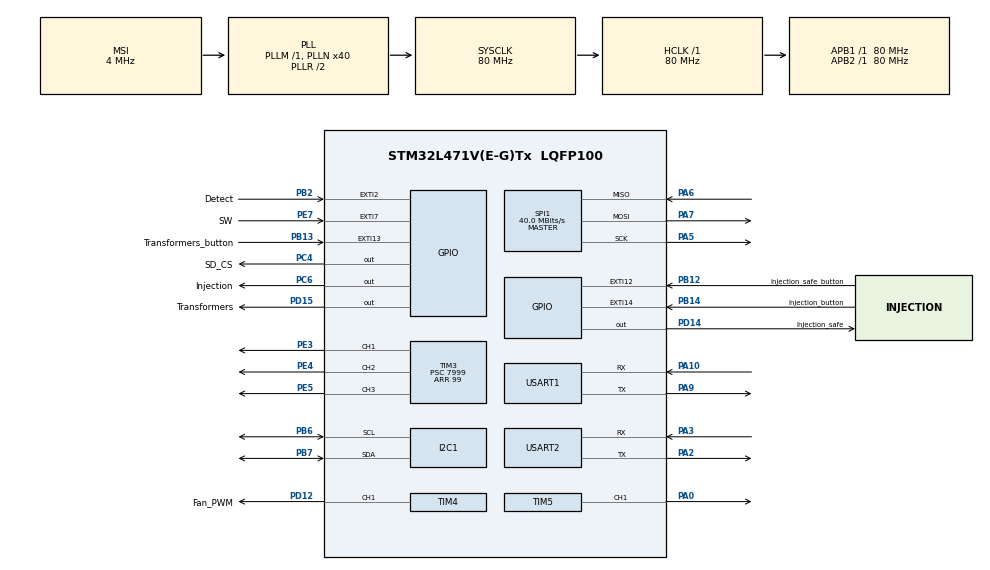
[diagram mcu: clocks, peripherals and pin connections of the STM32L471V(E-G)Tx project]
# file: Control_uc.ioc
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Dma.I2C1_RX.1.Direction=DMA_PERIPH_TO_MEMORY
Dma.I2C1_RX.1.Instance=DMA1_Channel7
Dma.I2C1_RX.1.MemDataAlignment=DMA_MDATAALIGN_BYTE
Dma.I2C1_RX.1.MemInc=DMA_MINC_ENABLE
Dma.I2C1_RX.1.Mode=DMA_NORMAL
Dma.I2C1_RX.1.PeriphDataAlignment=DMA_PDATAALIGN_BYTE
Dma.I2C1_RX.1.PeriphInc=DMA_PINC_DISABLE
Dma.I2C1_RX.1.Priority=DMA_PRIORITY_LOW
Dma.I2C1_TX.0.Direction=DMA_MEMORY_TO_PERIPH
Dma.I2C1_TX.0.Instance=DMA1_Channel6
Dma.I2C1_TX.0.MemDataAlignment=DMA_MDATAALIGN_BYTE
Dma.I2C1_TX.0.MemInc=DMA_MINC_ENABLE
Dma.I2C1_TX.0.Mode=DMA_NORMAL
Dma.I2C1_TX.0.PeriphDataAlignment=DMA_PDATAALIGN_BYTE
Dma.I2C1_TX.0.PeriphInc=DMA_PINC_DISABLE
Dma.I2C1_TX.0.Priority=DMA_PRIORITY_LOW
Dma.Request0=I2C1_TX
Dma.Request1=I2C1_RX
Mcu.Family=STM32L4
Mcu.Name=STM32L471V(E-G)Tx
Mcu.Package=LQFP100
NVIC.DMA1_Channel6_IRQn=true\:0\:0\:false\:false\:true\:false
NVIC.DMA1_Channel7_IRQn=true\:0\:0\:false\:false\:true\:false
NVIC.EXTI15_10_IRQn=true\:0\:0\:false\:false\:true\:true
NVIC.EXTI2_IRQn=true\:0\:0\:false\:false\:true\:true
NVIC.EXTI9_5_IRQn=true\:0\:0\:false\:false\:true\:true
NVIC.I2C1_ER_IRQn=true\:0\:0\:false\:false\:true\:true
NVIC.I2C1_EV_IRQn=true\:0\:0\:false\:false\:true\:true
NVIC.PriorityGroup=NVIC_PRIORITYGROUP_4
NVIC.TIM3_IRQn=true\:0\:0\:false\:false\:true\:true
NVIC.TIM4_IRQn=true\:0\:0\:false\:false\:true\:true
NVIC.TIM5_IRQn=true\:0\:0\:false\:false\:true\:true
PA0.Signal=S_TIM5_CH1
PA10.Mode=Asynchronous
PA10.Signal=USART1_RX
PA13\ (JTMS-SWDIO).Mode=JTAG_5_pins
PA13\ (JTMS-SWDIO).Signal=SYS_JTMS-SWDIO
PA14\ (JTCK-SWCLK).Mode=JTAG_5_pins
PA14\ (JTCK-SWCLK).Signal=SYS_JTCK-SWCLK
PA15\ (JTDI).Mode=JTAG_5_pins
PA15\ (JTDI).Signal=SYS_JTDI
PA2.Mode=Asynchronous
PA2.Signal=USART2_TX
PA3.Mode=Asynchronous
PA3.Signal=USART2_RX
PA5.Mode=Full_Duplex_Master
PA5.Signal=SPI1_SCK
PA6.Mode=Full_Duplex_Master
PA6.Signal=SPI1_MISO
PA7.Mode=Full_Duplex_Master
PA7.Signal=SPI1_MOSI
PA9.Mode=Asynchronous
PA9.Signal=USART1_TX
PB12.GPIO_Label=Injection_safe_button
PB12.GPIO_ModeDefaultEXTI=GPIO_MODE_IT_RISING
PB12.Signal=GPXTI12
PB13.GPIO_Label=Transformers_button
PB13.GPIO_ModeDefaultEXTI=GPIO_MODE_IT_RISING
PB13.Signal=GPXTI13
PB14.GPIO_Label=Injection_button
PB14.GPIO_ModeDefaultEXTI=GPIO_MODE_IT_RISING_FALLING
PB14.Signal=GPXTI14
PB2.GPIO_Label=Detect
PB2.GPIO_ModeDefaultEXTI=GPIO_MODE_IT_RISING
PB2.Signal=GPXTI2
PB3\ (JTDO-TRACESWO).Mode=JTAG_5_pins
PB3\ (JTDO-TRACESWO).Signal=SYS_JTDO-SWO
PB4\ (NJTRST).Mode=JTAG_5_pins
PB4\ (NJTRST).Signal=SYS_JTRST
PB6.Mode=I2C
PB6.Signal=I2C1_SCL
PB7.Mode=I2C
PB7.Signal=I2C1_SDA
PC4.GPIO_Label=SD_CS
PC4.Signal=GPIO_Output
PC6.GPIO_Label=Injection
PC6.Signal=GPIO_Output
PD12.GPIO_Label=Fan_PWM
PD12.Signal=S_TIM4_CH1
PD14.GPIO_Label=Injection_safe
PD14.Signal=GPIO_Output
PD15.GPIO_Label=Transformers
PD15.Signal=GPIO_Output
PE3.Signal=S_TIM3_CH1
PE4.Signal=S_TIM3_CH2
PE5.Signal=S_TIM3_CH3
PE7.GPIO_Label=SW
PE7.GPIO_ModeDefaultEXTI=GPIO_MODE_IT_RISING
PE7.Signal=GPXTI7
PH0-OSC_IN\ (PH0).Mode=HSE-External-Oscillator
PH0-OSC_IN\ (PH0).Signal=RCC_OSC_IN
PH1-OSC_OUT\ (PH1).Mode=HSE-External-Oscillator
PH1-OSC_OUT\ (PH1).Signal=RCC_OSC_OUT
ProjectManager.HeapSize=0x200
ProjectManager.StackSize=0x400
ProjectManager.TargetToolchain=SW4STM32
RCC.AHBFreq_Value=80000000
RCC.APB1Freq_Value=80000000
RCC.APB1TimFreq_Value=80000000
RCC.APB2Freq_Value=80000000
RCC.APB2TimFreq_Value=80000000
RCC.CortexFreq_Value=80000000
RCC.HCLKFreq_Value=80000000
RCC.HSE_VALUE=8000000
RCC.HSI_VALUE=16000000
RCC.LSE_VALUE=32768
RCC.MSI_VALUE=4000000
RCC.PLLN=40
RCC.SYSCLKFreq_VALUE=80000000
RCC.SYSCLKSource=RCC_SYSCLKSOURCE_PLLCLK
RCC.VCOOutputFreq_Value=160000000
SH.S_TIM3_CH1.0=TIM3_CH1,PWM Generation1 CH1
SH.S_TIM3_CH2.0=TIM3_CH2,PWM Generation2 CH2
SH.S_TIM3_CH3.0=TIM3_CH3,PWM Generation3 CH3
SH.S_TIM4_CH1.0=TIM4_CH1,PWM Generation1 CH1
SH.S_TIM5_CH1.0=TIM5_CH1,PWM Generation1 CH1
SPI1.CalculateBaudRate=40.0 MBits/s
SPI1.Direction=SPI_DIRECTION_2LINES
SPI1.Mode=SPI_MODE_MASTER
SPI1.VirtualType=VM_MASTER
TIM3.Channel-PWM\ Generation1\ CH1=TIM_CHANNEL_1
TIM3.Channel-PWM\ Generation2\ CH2=TIM_CHANNEL_2
TIM3.Channel-PWM\ Generation3\ CH3=TIM_CHANNEL_3
TIM3.Period=99
TIM3.Prescaler=7999
TIM4.Channel-PWM\ Generation1\ CH1=TIM_CHANNEL_1
TIM4.Period=99
TIM4.Prescaler=7999
TIM5.Channel-PWM\ Generation1\ CH1=TIM_CHANNEL_1
TIM5.Period=99
TIM5.Prescaler=7999
USART1.VirtualMode-Asynchronous=VM_ASYNC
USART2.VirtualMode-Asynchronous=VM_ASYNC
board=custom

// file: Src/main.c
/**
  ******************************************************************************
  * @file           : main.c
  * @brief          : Main program body
  ******************************************************************************
  ** This notice applies to any and all portions of this file
  * that are not between comment pairs USER CODE BEGIN and
  * USER CODE END. Other portions of this file, whether
  * inserted by the user or by software development tools
  * are owned by their respective copyright owners.
  *
  * COPYRIGHT(c) 2018 STMicroelectronics
  *
  * Redistribution and use in source and binary forms, with or without modification,
  * are permitted provided that the following conditions are met:
  *   1. Redistributions of source code must retain the above copyright notice,
  *      this list of conditions and the following disclaimer.
  *   2. Redistributions in binary form must reproduce the above copyright notice,
  *      this list of conditions and the following disclaimer in the documentation
  *      and/or other materials provided with the distribution.
  *   3. Neither the name of STMicroelectronics nor the names of its contributors
  *      may be used to endorse or promote products derived from this software
  *      without specific prior written permission.
  *
  * THIS SOFTWARE IS PROVIDED BY THE COPYRIGHT HOLDERS AND CONTRIBUTORS "AS IS"
  * AND ANY EXPRESS OR IMPLIED WARRANTIES, INCLUDING, BUT NOT LIMITED TO, THE
  * IMPLIED WARRANTIES OF MERCHANTABILITY AND FITNESS FOR A PARTICULAR PURPOSE ARE
  * DISCLAIMED. IN NO EVENT SHALL THE COPYRIGHT HOLDER OR CONTRIBUTORS BE LIABLE
  * FOR ANY DIRECT, INDIRECT, INCIDENTAL, SPECIAL, EXEMPLARY, OR CONSEQUENTIAL
  * DAMAGES (INCLUDING, BUT NOT LIMITED TO, PROCUREMENT OF SUBSTITUTE GOODS OR
  * SERVICES; LOSS OF USE, DATA, OR PROFITS; OR BUSINESS INTERRUPTION) HOWEVER
  * CAUSED AND ON ANY THEORY OF LIABILITY, WHETHER IN CONTRACT, STRICT LIABILITY,
  * OR TORT (INCLUDING NEGLIGENCE OR OTHERWISE) ARISING IN ANY WAY OUT OF THE USE
  * OF THIS SOFTWARE, EVEN IF ADVISED OF THE POSSIBILITY OF SUCH DAMAGE.
  *
  ******************************************************************************
  */
#include "main.h"
#include "stm32l4xx_hal.h"
#include "dma.h"
#include "i2c.h"
#include "spi.h"
#include "tim.h"
#include "usart.h"
#include "gpio.h"

volatile uint8_t transformer_set_flag  = 0;
volatile uint8_t injection_safe_set_flag  = 0;
volatile uint8_t injection_set_flag  = 0;
volatile uint8_t button_state_changed_flag = 0;
/* USER CODE BEGIN PV */
/* Private variables ---------------------------------------------------------*/
uint8_t Duty = 0;
/* USER CODE END PV */

void SystemClock_Config(void);

/* USER CODE BEGIN PFP */
/* Private function prototypes -----------------------------------------------*/
void HAL_TIM_PeriodElapsedCallback(TIM_HandleTypeDef *htim) {
	if (htim->Instance == TIM3) {
		static uint8_t InterruptPrescaler = 0; // licznik przerwan
		 static uint8_t CzyRosnie = 1; // Flaga kierunku zliczania

		 ++InterruptPrescaler; // Inkrementacja numeru przerwania

		 // Jezeli wywolalo sie 40 przerwanie z rzedu
		 if (InterruptPrescaler == 2) {
		 InterruptPrescaler = 0; // wyzeruj licznik przerwan

		 if (Duty == 100) // Jezeli wypelnienie jest rowne 100
		 CzyRosnie = 0; // Zmien kierunek zliczania w dol

		 else if (Duty == 0) // Jezeli wypelnienie rowne 0
		 CzyRosnie = 1; // Zmien kierunek zliczania w gore

		 if (CzyRosnie) // Jezeli zliczamy w gore
		 ++Duty; // Inkrementuj wartosc wypelnienia
		 else//Jezeli zliczamy w dol
		 --Duty; // Dekrementuj wartosc wypelnienia
		 }
		 TIM3->CCR1 = Duty;

	}
}

void Buzzer_signal_short(void)
{
	TIM5->CCR1 = 50;
	HAL_Delay(250);
	TIM5->CCR1 = 0;
}

void HAL_GPIO_EXTI_Callback(uint16_t GPIO_Pin)
{

	button_state_changed_flag = 1;

	if(HAL_GPIO_ReadPin(Injection_safe_GPIO_Port, Injection_safe_Pin == 0))
	{
		HAL_GPIO_WritePin(Injection_GPIO_Port, Injection_Pin, RESET);
	}

if(GPIO_Pin == Transformers_button_Pin)
{

	HAL_GPIO_TogglePin(Transformers_GPIO_Port,Transformers_Pin);

	if(HAL_GPIO_ReadPin(Transformers_GPIO_Port,Transformers_Pin))
		{
		transformer_set_flag  = 1;
		}
	else
		{
		transformer_set_flag  = 0;
		}

}
else if(GPIO_Pin == Injection_safe_button_Pin)
{

	HAL_GPIO_TogglePin(Injection_safe_GPIO_Port, Injection_safe_Pin);

	if(HAL_GPIO_ReadPin(Injection_safe_GPIO_Port, Injection_safe_Pin))
		{
		injection_safe_set_flag  = 1;
		}
	else
		{
		injection_safe_set_flag  = 0;
		}

}
else if((GPIO_Pin == Injection_button_Pin)&&(HAL_GPIO_ReadPin(Injection_safe_GPIO_Port, Injection_safe_Pin)))
{

	HAL_GPIO_TogglePin(Injection_GPIO_Port, Injection_Pin);

	if(HAL_GPIO_ReadPin(Injection_GPIO_Port, Injection_Pin))
		{
		injection_set_flag  = 1;
		}
	else
		{
		injection_set_flag  = 0;
		}

}

}

void LED_PWM(uint8_t timer_channel, uint8_t Duty)
{
		switch(timer_channel)
		{
		case 1:
			TIM3->CCR1 = Duty;
			break;
		case 2:
			TIM3->CCR2 = Duty;
			break;
		case 3:
			TIM3->CCR3 = Duty;
			break;
		default:
			break;
	}
}

void LED_Sweep(void)
{

	LED_PWM(1, 100);
	HAL_Delay(150);
	LED_PWM(2, 100);
	LED_PWM(1, 0);
	HAL_Delay(150);
	LED_PWM(3, 100);
	LED_PWM(2, 0);
	HAL_Delay(150);
	LED_PWM(2, 100);
	LED_PWM(3, 0);
	HAL_Delay(150);
	LED_PWM(1, 100);
	LED_PWM(2, 0);
	HAL_Delay(150);
	LED_PWM(1, 0);
	HAL_Delay(150);
	LED_PWM(1, 100);
	HAL_Delay(150);
	LED_PWM(2, 100);
	LED_PWM(1, 0);
	HAL_Delay(150);
	LED_PWM(3, 100);
	LED_PWM(2, 0);
	HAL_Delay(150);
	LED_PWM(2, 100);
	LED_PWM(3, 0);
	HAL_Delay(150);
	LED_PWM(1, 100);
	LED_PWM(2, 0);
	HAL_Delay(150);

}

void Buttons_LCD_reaction(uint8_t transformers, uint8_t injection_safe, uint8_t injection)
{
	// Transformers flag
	if(transformers == 1)
		{
			LCD_Send_Str_Pos("TRANSFORMERS SET", 0, 0);
		}
	else
		{
			LCD_Send_Str_Pos("                    ", 0, 0);
		}
	// Injection safe flag
	if(injection_safe == 1)
		{
			LCD_Send_Str_Pos("INJECTION UNLOCKED", 0, 1);
		}
	else
		{
			LCD_Send_Str_Pos("                    ", 0, 1);
		}
	//Injection flag
	if(injection == 1)
		{
			LCD_Send_Str_Pos("INJECTION", 0, 2);
		}
	else
		{
			LCD_Send_Str_Pos("                    ", 0, 2);
		}

}

/* USER CODE END PFP */

int main(void)
{

  /* MCU Configuration----------------------------------------------------------*/

  /* Reset of all peripherals, Initializes the Flash interface and the Systick. */
  HAL_Init();

  /* Configure the system clock */
  SystemClock_Config();

  /* Initialize all configured peripherals */
  MX_GPIO_Init();
  MX_DMA_Init();
  MX_I2C1_Init();
  MX_SPI1_Init();
  MX_TIM3_Init();
  MX_TIM4_Init();
  MX_TIM5_Init();
  MX_USART1_UART_Init();
  MX_USART2_UART_Init();
  /* USER CODE BEGIN 2 */

  HAL_TIM_Base_Start_IT(&htim3);
  HAL_TIM_PWM_Start(&htim3, TIM_CHANNEL_1);
  HAL_TIM_PWM_Start(&htim3, TIM_CHANNEL_2);
  HAL_TIM_PWM_Start(&htim3, TIM_CHANNEL_3);
  HAL_TIM_PWM_Start(&htim5, TIM_CHANNEL_1);

  LCD_Init();
  LCD_Clear();

  /* USER CODE END 2 */

  /* Infinite loop */
  /* USER CODE BEGIN WHILE */
  while (1)
  {
if(button_state_changed_flag == 1)
{
	Buttons_LCD_reaction(transformer_set_flag, injection_safe_set_flag, injection_set_flag);
	button_state_changed_flag = 0;
}
  /* USER CODE END WHILE */

  }

}

void SystemClock_Config(void)
{

  RCC_OscInitTypeDef RCC_OscInitStruct;
  RCC_ClkInitTypeDef RCC_ClkInitStruct;
  RCC_PeriphCLKInitTypeDef PeriphClkInit;

    /**Initializes the CPU, AHB and APB busses clocks
    */
  RCC_OscInitStruct.OscillatorType = RCC_OSCILLATORTYPE_MSI;
  RCC_OscInitStruct.MSIState = RCC_MSI_ON;
  RCC_OscInitStruct.MSICalibrationValue = 0;
  RCC_OscInitStruct.MSIClockRange = RCC_MSIRANGE_6;
  RCC_OscInitStruct.PLL.PLLState = RCC_PLL_ON;
  RCC_OscInitStruct.PLL.PLLSource = RCC_PLLSOURCE_MSI;
  RCC_OscInitStruct.PLL.PLLM = 1;
  RCC_OscInitStruct.PLL.PLLN = 40;
  RCC_OscInitStruct.PLL.PLLP = RCC_PLLP_DIV7;
  RCC_OscInitStruct.PLL.PLLQ = RCC_PLLQ_DIV2;
  RCC_OscInitStruct.PLL.PLLR = RCC_PLLR_DIV2;
  if (HAL_RCC_OscConfig(&RCC_OscInitStruct) != HAL_OK)
  {
    _Error_Handler(__FILE__, __LINE__);
  }

    /**Initializes the CPU, AHB and APB busses clocks
    */
  RCC_ClkInitStruct.ClockType = RCC_CLOCKTYPE_HCLK|RCC_CLOCKTYPE_SYSCLK
                              |RCC_CLOCKTYPE_PCLK1|RCC_CLOCKTYPE_PCLK2;
  RCC_ClkInitStruct.SYSCLKSource = RCC_SYSCLKSOURCE_PLLCLK;
  RCC_ClkInitStruct.AHBCLKDivider = RCC_SYSCLK_DIV1;
  RCC_ClkInitStruct.APB1CLKDivider = RCC_HCLK_DIV1;
  RCC_ClkInitStruct.APB2CLKDivider = RCC_HCLK_DIV1;

  if (HAL_RCC_ClockConfig(&RCC_ClkInitStruct, FLASH_LATENCY_4) != HAL_OK)
  {
    _Error_Handler(__FILE__, __LINE__);
  }

  PeriphClkInit.PeriphClockSelection = RCC_PERIPHCLK_USART1|RCC_PERIPHCLK_USART2
                              |RCC_PERIPHCLK_I2C1;
  PeriphClkInit.Usart1ClockSelection = RCC_USART1CLKSOURCE_PCLK2;
  PeriphClkInit.Usart2ClockSelection = RCC_USART2CLKSOURCE_PCLK1;
  PeriphClkInit.I2c1ClockSelection = RCC_I2C1CLKSOURCE_PCLK1;
  if (HAL_RCCEx_PeriphCLKConfig(&PeriphClkInit) != HAL_OK)
  {
    _Error_Handler(__FILE__, __LINE__);
  }

    /**Configure the main internal regulator output voltage
    */
  if (HAL_PWREx_ControlVoltageScaling(PWR_REGULATOR_VOLTAGE_SCALE1) != HAL_OK)
  {
    _Error_Handler(__FILE__, __LINE__);
  }

    /**Configure the Systick interrupt time
    */
  HAL_SYSTICK_Config(HAL_RCC_GetHCLKFreq()/1000);

    /**Configure the Systick
    */
  HAL_SYSTICK_CLKSourceConfig(SYSTICK_CLKSOURCE_HCLK);

  /* SysTick_IRQn interrupt configuration */
  HAL_NVIC_SetPriority(SysTick_IRQn, 0, 0);
}

void _Error_Handler(char *file, int line)
{
  while(1)
  {
  }
}

/************************ (C) COPYRIGHT STMicroelectronics *****END OF FILE****/
